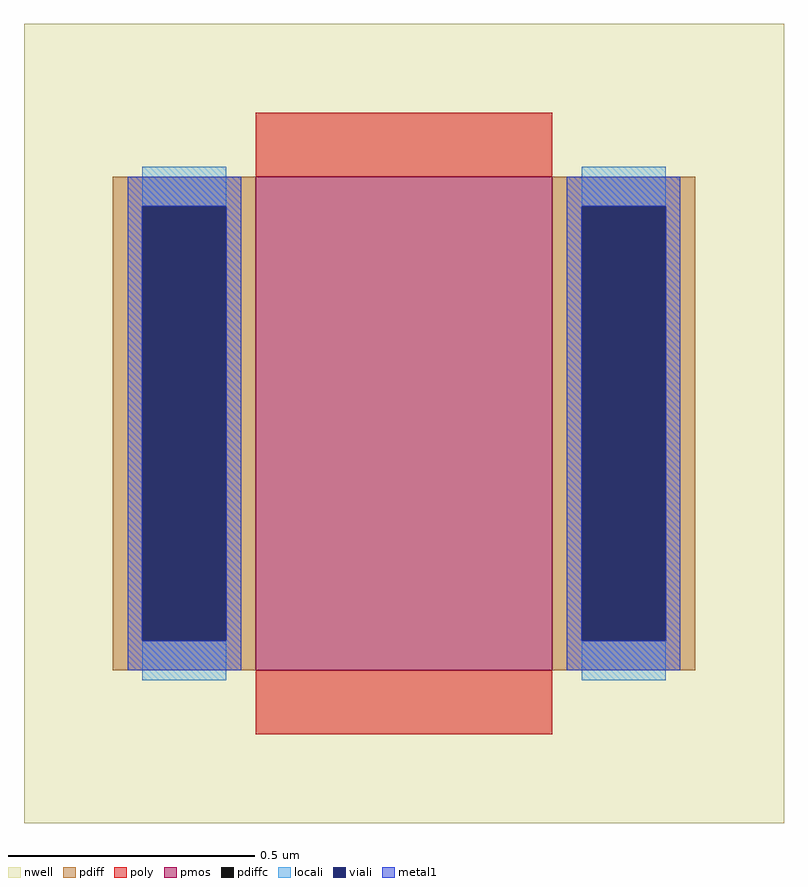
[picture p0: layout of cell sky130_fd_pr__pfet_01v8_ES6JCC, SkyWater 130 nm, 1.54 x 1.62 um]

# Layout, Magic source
magic
tech sky130A
<< nwell >>
rect -77 -81 77 81
<< pmos >>
rect -30 -50 30 50
<< pdiff >>
rect -59 44 -30 50
rect -59 -44 -53 44
rect -36 -44 -30 44
rect -59 -50 -30 -44
rect 30 44 59 50
rect 30 -44 36 44
rect 53 -44 59 44
rect 30 -50 59 -44
<< pdiffc >>
rect -53 -44 -36 44
rect 36 -44 53 44
<< poly >>
rect -30 50 30 63
rect -30 -63 30 -50
<< locali >>
rect -53 44 -36 52
rect -53 -52 -36 -44
rect 36 44 53 52
rect 36 -52 53 -44
<< viali >>
rect -53 -44 -36 44
rect 36 -44 53 44
<< metal1 >>
rect -56 44 -33 50
rect -56 -44 -53 44
rect -36 -44 -33 44
rect -56 -50 -33 -44
rect 33 44 56 50
rect 33 -44 36 44
rect 53 -44 56 44
rect 33 -50 56 -44
<< properties >>
string gencell sky130_fd_pr__pfet_01v8
string library sky130
string parameters w 1 l 0.6 m 1 nf 1 diffcov 100 polycov 100 guard 0 glc 0 grc 0 gtc 0 gbc 0 tbcov 100 rlcov 100 topc 0 botc 0 poverlap 0 doverlap 1 lmin 0.15 wmin 0.42 compatible {sky130_fd_pr__pfet_01v8  sky130_fd_pr__pfet_01v8_lvt sky130_fd_pr__pfet_01v8_hvt  sky130_fd_pr__pfet_g5v0d10v5} full_metal 0 viasrc 100 viadrn 100 viagate 100 viagb 0 viagr 0 viagl 0 viagt 0
<< end >>
